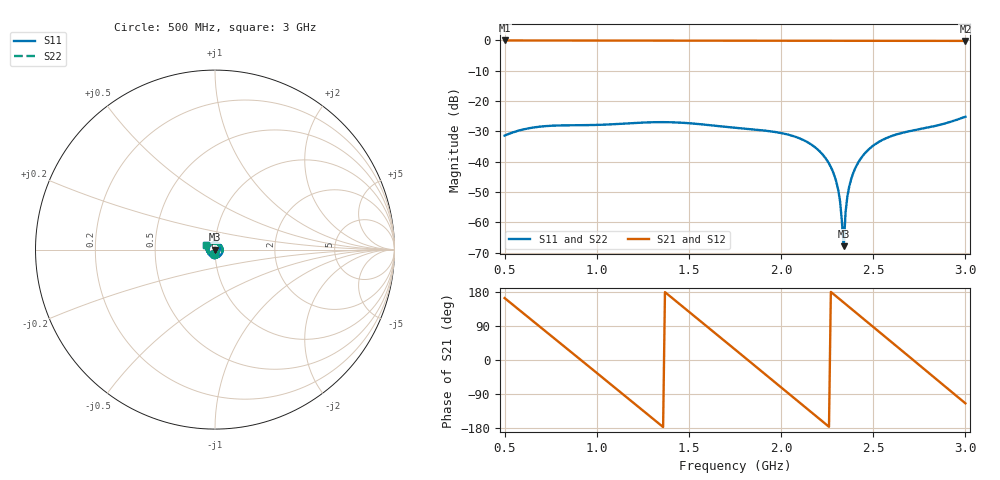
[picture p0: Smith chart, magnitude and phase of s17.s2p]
!freq-unit  param-type  data-format  keyword  impedance-ohms
# GHZ  S  RI  R  50
!Freq  ReS11  ImS11  ReS21  ImS21  ReS12  ImS12  ReS22  ImS22
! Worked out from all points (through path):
!   251 points, 500 MHz to 3 GHz, reference 50 ohm
!   highest |S21| = -0.06 dB at 500 MHz (marker M1); lowest = -0.2 dB at 3 GHz (marker M2)
!   group delay of S21, straight-line fit = 1.11 ns
!   lowest |S11| = -67.9 dB at 2.34 GHz (marker M3), VSWR 1.00, Z = 50 + j0.00561 ohm
!   |S11| at or under -10 dB: start of sweep to end of sweep
!   |S22| runs from -67.9 to -25.2 dB; largest |S21 - S12| = 0
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0.5  -0.00774 -0.0256  -0.9515 0.2829  -0.9515 0.2829  -0.00774 -0.0256
0.7  -0.0377 0.00366  0.0939 0.9862  0.0939 0.9862  -0.0377 0.00366
0.82  -0.0238 0.0315  0.7887 0.5978  0.7887 0.5978  -0.0238 0.0315
0.92  0.00169 0.0397  0.9881 -0.0412  0.9881 -0.0412  0.00169 0.0397
1.13  0.0418 0.00319  0.0763 -0.9845  0.0763 -0.9845  0.0418 0.00319
1.34  0.00855 -0.0438  -0.9676 -0.1894  -0.9676 -0.1894  0.00855 -0.0438
1.44  -0.0211 -0.0386  -0.8646 0.4728  -0.8646 0.4728  -0.0211 -0.0386
1.56  -0.0402 -0.00972  -0.231 0.9573  -0.231 0.9573  -0.0402 -0.00972
1.75  -0.0169 0.0319  0.8701 0.4592  0.8701 0.4592  -0.0169 0.0319
1.86  0.00927 0.0323  0.9448 -0.2727  0.9448 -0.2727  0.00927 0.0323
1.99  0.0277 0.0113  0.367 -0.9116  0.367 -0.9116  0.0277 0.0113
2.17  0.0121 -0.0141  -0.7538 -0.6293  -0.7538 -0.6293  0.0121 -0.0141
2.29  -0.000521 -0.00576  -0.9712 0.1414  -0.9712 0.1414  -0.000521 -0.00576
2.32  -0.000458 -0.00216  -0.9202 0.3409  -0.9202 0.3409  -0.000458 -0.00216
2.34  0.000398 5.61e-05  -0.8635 0.466  -0.8635 0.466  0.000398 5.61e-05
2.36  0.00184 0.00196  -0.7897 0.5821  -0.7897 0.5821  0.00184 0.00196
2.4  0.00611 0.0043  -0.5976 0.7778  -0.5976 0.7778  0.00611 0.0043
2.49  0.0173 0.000138  -0.0231 0.98  -0.0231 0.98  0.0173 0.000138
2.59  0.0199 -0.0163  0.6149 0.7624  0.6149 0.7624  0.0199 -0.0163
2.77  -0.013 -0.0325  0.9107 -0.3574  0.9107 -0.3574  -0.013 -0.0325
2.89  -0.04 -0.0143  0.3363 -0.9176  0.3363 -0.9176  -0.04 -0.0143
3  -0.0497 0.0231  -0.4024 -0.8893  -0.4024 -0.8893  -0.0497 0.0231
